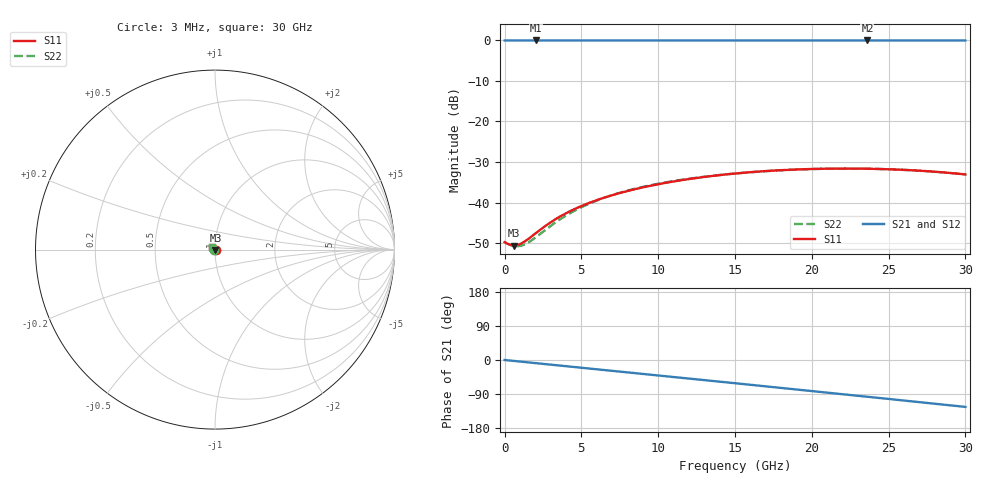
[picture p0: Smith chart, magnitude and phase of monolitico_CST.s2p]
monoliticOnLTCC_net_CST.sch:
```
<Qucs Schematic 25.1.0>
<Properties>
  <View=-295,-1075,4107,1392,0.342562,0,0>
  <Grid=10,10,1>
  <DataSet=monoliticOnLTCC_net_CST.dat>
  <DataDisplay=monoliticOnLTCC_net_CST.dpl>
  <OpenDisplay=0>
  <Script=monoliticOnLTCC.m>
  <RunScript=0>
  <showFrame=0>
  <FrameText0=Title>
  <FrameText1=Drawn By:>
  <FrameText2=Date:>
  <FrameText3=Revision:>
</Properties>
<Symbol>
</Symbol>
<Components>
  <Pac P1 1 150 -50 18 -26 0 1 "1" 1 "50 Ohm" 1 "0 dBm" 0 "1 MHz" 0 "26.85" 0 "true" 0>
  <GND * 1 150 -20 0 0 0 0>
  <Pac P2 1 630 -60 18 -26 0 1 "2" 1 "50 Ohm" 1 "0 dBm" 0 "1 MHz" 0 "26.85" 0 "true" 0>
  <GND * 1 630 -30 0 0 0 0>
  <GND * 1 340 -300 0 0 0 0>
  <.SP SP1 1 170 180 0 70 0 0 "lin" 1 "1 MHz" 1 "30 GHz" 1 "9001" 1 "no" 0 "1" 0 "2" 0 "no" 0 "no" 0>
  <Eqn Eqn1 1 480 250 -32 18 0 0 "dBS11=dB(S[1,1])" 1 "dBS12=dB(S[1,2])" 1 "phS12=phase(S[1,2])" 1 "phS11=phase(S[1,1])" 1 "yes" 0>
  <GND * 1 350 -200 0 -22 1 0>
  <SPfile X2 1 340 -330 -26 -65 0 0 "monolitico_CST.s2p" 1 "rectangular" 0 "linear" 0 "open" 0 "2" 0>
  <SPfile X3 1 350 -110 -26 51 1 0 "monoliticOnLTCC_net_CST.s4p" 1 "rectangular" 0 "linear" 0 "open" 0 "4" 0>
</Components>
<Wires>
  <380 -140 410 -140 "" 0 0 0 "">
  <370 -330 410 -330 "" 0 0 0 "">
  <410 -330 410 -140 "" 0 0 0 "">
  <290 -140 320 -140 "" 0 0 0 "">
  <290 -330 310 -330 "" 0 0 0 "">
  <290 -330 290 -140 "" 0 0 0 "">
  <350 -200 350 -170 "" 0 0 0 "">
  <150 -80 320 -80 "" 0 0 0 "">
  <380 -90 380 -80 "" 0 0 0 "">
  <380 -90 630 -90 "" 0 0 0 "">
</Wires>
<Diagrams>
  <Rect 1750 1153 1434 773 3 #c0c0c0 1 00 1 0 1e+09 3e+10 1 -215.965 50 215.897 1 -1 0.2 1 315 0 225 1 0 0 "" "" "">
	<"monoliticOnLTCC_CST:phS12" #ff0000 0 3 0 0 0>
	<"monoliticOnLTCC:phS12" #ff00ff 0 3 0 0 0>
	<"phS12" #00ff00 0 3 0 0 0>
  </Rect>
  <Rect 50 1190 1458 790 3 #c0c0c0 1 00 1 0 1e+09 3e+10 1 -220 20 220 1 -1 0.2 1 315 0 225 1 0 0 "" "" "">
	<"monoliticOnLTCC_CST:phS11" #ff0000 0 3 0 0 0>
	<"phS11" #00ff00 2 3 0 0 0>
	<"monoliticOnLTCC:phS11" #ff00ff 1 3 0 0 0>
  </Rect>
  <Rect 980 221 1920 1081 3 #c0c0c0 1 00 1 0 1e+09 3e+10 0 -80 5 20 1 -1 0.1 1 315 0 225 1 0 0 "" "" "">
	<"dBS11" #0000ff 0 3 0 0 0>
	<"monoliticOnLTCC_CST:dBS11" #ff0000 2 3 0 0 0>
  </Rect>
</Diagrams>
<Paintings>
</Paintings>
```
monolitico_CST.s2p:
! TOUCHSTONE file generated by CST MICROWAVE STUDIO
! Date and time: Thu Mar 27 11:07:56 2025
! Project name: monolitic.cst
! Header version: 2018
! Port assignment regex: !\s*Touchstone port\s*([0-9]+)\s*=\s*(CST MWS port|CST DS port)\s*([0-9]+|Zmin|Zmax)\s*\(\"(.*)\"\)(\s*mode\s*([0-9]+))?.*
! Touchstone port assignment:
! Touchstone port 1 = CST MWS port 1 ("")
! Touchstone port 2 = CST MWS port 2 ("")
! S-Parameters are not renormalized. Unphysical impedance of 50 will be written to the file.
# GHz S MA R 50
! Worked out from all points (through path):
!   10003 points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, 3 MHz to 30 GHz, reference per port
!   highest |S21| = 0.00 dB at 2.07 GHz (marker M1); lowest = 0.0 dB at 23.62 GHz (marker M2)
!   group delay of S21, straight-line fit = 11.5 ps
!   lowest |S11| = -50.6 dB at 612 MHz (marker M3), VSWR 1.01
!   |S11| at or under -10 dB: start of sweep to end of sweep
!   |S22| runs from -50.8 to -31.6 dB; largest |S21 - S12| = 1.6e-05
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0.003  0.003247 -1.7  1 -0.0  1 -0.0  0.003244 179.7
0.612  0.002949 -27.5  1 -2.5  1 -2.5  0.002917 -164.3
1.257  0.003255 -53.8  1 -5.1  1 -5.1  0.003012 -144.7
2.07  0.004241 -76.4  1 -8.4  1 -8.4  0.00377 -125.9
4.41  0.008061 -104.2  1 -17.9  1 -17.9  0.00766 -112.2
7.026  0.01235 -118.5  0.9999 -28.6  0.9999 -28.6  0.01238 -118.7
10.5  0.01752 -132.9  0.9998 -42.8  0.9998 -42.8  0.01775 -132.8
15.003  0.02281 -150.9  0.9997 -61.3  0.9997 -61.3  0.02281 -151.6
19.368  0.02573 -168.8  0.9997 -79.3  0.9997 -79.3  0.02565 -169.8
23.622  0.02612 173.6  0.9997 -97.0  0.9997 -97.0  0.02614 172.3
30  0.02221 147.2  0.9998 -123.8  0.9997 -123.8  0.02221 145.2
